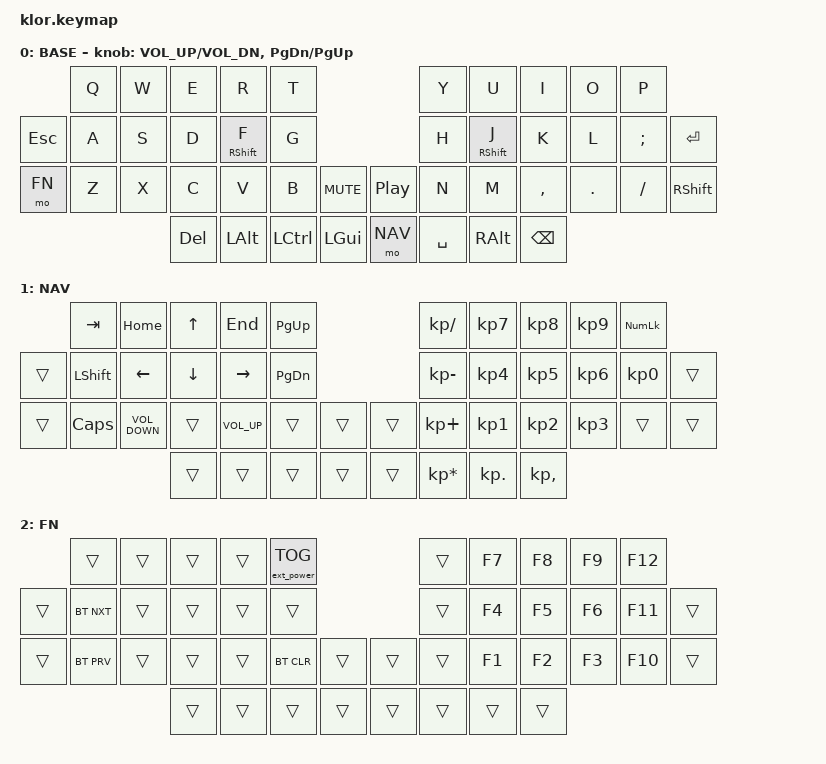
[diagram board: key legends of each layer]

//                               █         █    █            ▄▄▄▀▀▀▀▀▀▄▄▄        █▀▀▀▀▀▀▀▀▀▀█
//                               █        █     █          ▄▀            ▀▄      █          █
//                               █       █      █        ▄▀                ▀▄    █          █
//                               █      █       █        █                  █    █          █
//                               █     █        █       █                    █   █          █
//                               █    █         █       █                    █   █▄▄▄▄▄▄▄▄▄▄█
//                               █   █ █        █       █                    █   █      █
//                               █  █   █       █        █                  █    █       █
//                               █ █     █      █        ▀▄                ▄▀    █        █
//                               ██       █     █          ▀▄            ▄▀      █         █
//                               █         █    █▄▄▄▄▄▄▄▄    ▀▀▀▄▄▄▄▄▄▀▀▀        █          █
//

#include <behaviors.dtsi>
#include <dt-bindings/zmk/keys.h>
#include <dt-bindings/zmk/bt.h>
#include <dt-bindings/zmk/ext_power.h>


#define BASE   0
#define NAV    1
#define FN     2


/ {
    behaviors {
        hm: homerow_mods {
            compatible = "zmk,behavior-hold-tap";
            #binding-cells = <2>;
            tapping-term-ms = <150>;
            quick-tap-ms = <0>;
            flavor = "tap-preferred";
            bindings = <&kp>, <&kp>;
        };
    };

    combos {
        compatible = "zmk,combos";
        combo_esc {
            timeout-ms = <50>;
            key-positions = <0 1>;
            bindings = <&kp ESC>;
        };
    };

    keymap {
        compatible = "zmk,keymap";

        base_layer {
            display-name = "BASE";
/*           ┌─────────┬─────────┬─────────┬─────────┬─────────┐                    ┌─────────┬─────────┬─────────┬─────────┬─────────┐
             │    Q    │    C    │    O    │    P    │    W    │                    │    J    │    M    │    D    │    ★    │    Y    │
   ┌─────────┼─────────┼─────────┼─────────┼─────────┼─────────┤                    ├─────────┼─────────┼─────────┼─────────┼─────────┼─────────┐
   │   ESC   │    A    │    S    │    E    │ N/SHIFT │    F    │                    │    L    │ R/SHIFT │    T    │    I    │    U    │   RET   │
   ├─────────┼─────────┼─────────┼─────────┼─────────┼─────────┤╭────────╮╭────────╮├─────────┼─────────┼─────────┼─────────┼─────────┼─────────┤
   │   FN    │    Z    │    X    │    -    │    V    │    B    ││  MUTE  ││ P/PSE  ││    .    │    H    │    G    │    ,    │    K    │  RSHFT  │
   └─────────┴─────────┴─────────┼─────────┼─────────┼─────────┼╰────────╯╰────────╯┼─────────┼─────────┼─────────┼─────────┴─────────┴─────────┘
                                 │   DEL   │   ALT   │  LCTRL  │   WIN   ││   NAV   │  SPACE  │  ALTGR  │  BSPCE  │
                                 └─────────┴─────────┴─────────┴─────────┘└─────────┴─────────┴─────────┴─────────┘ */
            bindings = <
                       &kp Q     &kp W     &kp E     &kp R         &kp T                                          &kp Y    &kp U         &kp I      &kp O     &kp P
            &kp ESC    &kp A     &kp S     &kp D     &hm RSHFT F   &kp G                                          &kp H    &hm RSHFT J   &kp K      &kp L     &kp SEMI   &kp RET
            &mo FN     &kp Z     &kp X     &kp C     &kp V         &kp B     &kp C_MUTE     &kp C_PLAY_PAUSE      &kp N    &kp M         &kp COMMA  &kp DOT   &kp FSLH   &kp RSHFT
                                           &kp DEL   &kp LALT      &kp LCTRL &kp LGUI             &mo NAV         &kp SPACE &kp RALT     &kp BSPC
            >;
            /* Les autres couches n'ont pas de sensor-bindings : elles héritent de ceux-ci. */
            sensor-bindings = <&inc_dec_kp C_VOL_UP C_VOL_DN &inc_dec_kp PAGE_DOWN PAGE_UP>;
        };

        nav_layer {
            display-name = "NAV";
/*           ┌─────────┬─────────┬─────────┬─────────┬─────────┐                    ┌─────────┬─────────┬─────────┬─────────┬─────────┐
             │   TAB   │   HOME  │    UP   │   END   │   P UP  │                    │    /    │    7    │    8    │    9    │  NMLCK  │
   ┌─────────┼─────────┼─────────┼─────────┼─────────┼─────────┤                    ├─────────┼─────────┼─────────┼─────────┼─────────┼─────────┐
   │         │  LSHFT  │   LEFT  │  DOWN   │  RIGHT  │ P DOWN  │                    │    -    │    4    │    5    │    6    │    0    │         │
   ├─────────┼─────────┼─────────┼─────────┼─────────┼─────────┤╭────────╮╭────────╮├─────────┼─────────┼─────────┼─────────┼─────────┼─────────┤
   │         │  CPLCK  │   VOL-  │         │  VOL+   │         ││        ││        ││    +    │    1    │    2    │    3    │         │         │
   └─────────┴─────────┴─────────┼─────────┼─────────┼─────────┼╰────────╯╰────────╯┼─────────┼─────────┼─────────┼─────────┴─────────┴─────────┘
                                 │         │         │         │         ││         │    *    │    .    │    ,    │
                                 └─────────┴─────────┴─────────┴─────────┘└─────────┴─────────┴─────────┴─────────┘ */
            bindings = <
                       &kp TAB    &kp HOME           &kp UP      &kp END           &kp PG_UP                      &kp KP_DIVIDE   &kp KP_N7   &kp KP_N8   &kp KP_N9   &kp KP_NUMLOCK
            &trans     &kp LSHFT  &kp LEFT           &kp DOWN    &kp RIGHT         &kp PG_DN                      &kp KP_MINUS    &kp KP_N4   &kp KP_N5   &kp KP_N6   &kp KP_N0        &trans
            &trans     &kp CAPS   &kp C_VOLUME_DOWN  &trans      &kp C_VOLUME_UP   &trans            &trans &trans &kp KP_PLUS    &kp KP_N1   &kp KP_N2   &kp KP_N3   &trans           &trans
                                                     &trans      &trans            &trans            &trans &trans &kp KP_MULTIPLY &kp KP_DOT &kp KP_COMMA
            >;
        };

        fn_layer {
            display-name = "FN";
/*           ┌─────────┬─────────┬─────────┬─────────┬─────────┐                    ┌─────────┬─────────┬─────────┬─────────┬─────────┐
             │         │         │         │         │ EXT PWR │                    │         │   F7    │   F8    │   F9    │   F12   │
   ┌─────────┼─────────┼─────────┼─────────┼─────────┼─────────┤                    ├─────────┼─────────┼─────────┼─────────┼─────────┼─────────┐
   │         │ BT_NXT  │         │         │         │         │                    │         │   F4    │   F5    │   F6    │   F11   │         │
   ├─────────┼─────────┼─────────┼─────────┼─────────┼─────────┤╭────────╮╭────────╮├─────────┼─────────┼─────────┼─────────┼─────────┼─────────┤
   │         │ BT_PRV  │         │         │         │ BT_CLR  ││        ││        ││         │   F1    │   F2    │   F3    │   F10   │         │
   └─────────┴─────────┴─────────┼─────────┼─────────┼─────────┼╰────────╯╰────────╯┼─────────┼─────────┼─────────┼─────────┴─────────┴─────────┘
                                 │         │         │         │         ││         │         │         │         │
                                 └─────────┴─────────┴─────────┴─────────┘└─────────┴─────────┴─────────┴─────────┘ */
            bindings = <
                       &trans     &trans     &trans     &trans     &ext_power EP_TOG                              &trans    &kp F7    &kp F8    &kp F9    &kp F12
            &trans     &bt BT_NXT &trans     &trans     &trans     &trans                                         &trans    &kp F4    &kp F5    &kp F6    &kp F11    &trans
            &trans     &bt BT_PRV &trans     &trans     &trans     &bt BT_CLR &trans              &trans          &trans    &kp F1    &kp F2    &kp F3    &kp F10    &trans
                                             &trans     &trans     &trans     &trans              &trans          &trans    &trans    &trans
            >;
        };

        /* Emplacements réservés pour ZMK Studio : à garder en dernier. */
        extra1 {
            status = "reserved";
        };

        extra2 {
            status = "reserved";
        };
    };
};
